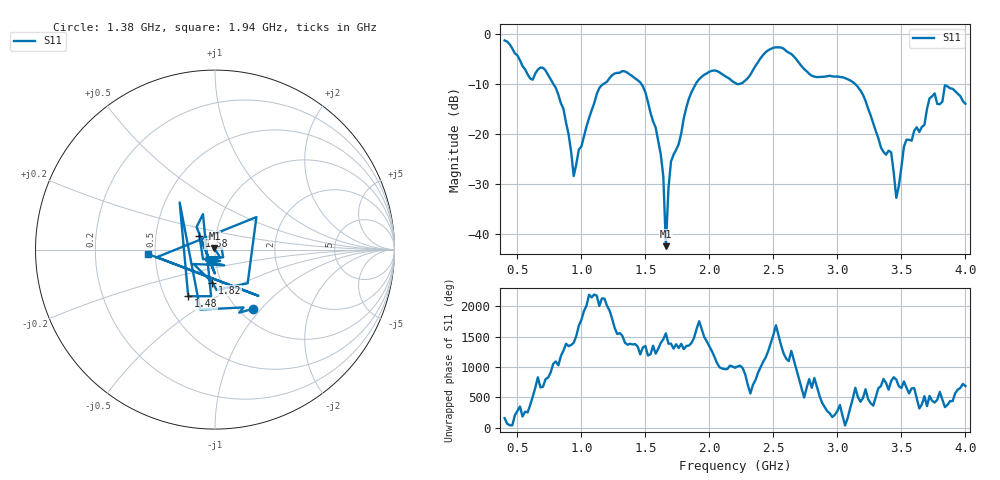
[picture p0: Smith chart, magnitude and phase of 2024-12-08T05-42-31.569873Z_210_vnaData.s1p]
!Created with skrf (http://scikit-rf.org).
# Hz S RI R 50.0
!freq ReS11 ImS11
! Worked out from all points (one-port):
!   181 points, 400 MHz to 4 GHz, reference 50 ohm
!   lowest |S11| = -42.5 dB at 1.66 GHz (marker M1), VSWR 1.02, Z = 49.7 + j0.685 ohm
!   |S11| at or under -10 dB: 780.6 MHz to 1.173 GHz (392.1 MHz wide, 40.1 % of centre); 1.468 GHz to 1.894 GHz (425.8 MHz wide, 25.3 % of centre); 3.138 GHz to end of sweep (the widest 3 of 4)
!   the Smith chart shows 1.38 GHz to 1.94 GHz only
!   S11 on the Smith chart (normalised r, x): 1.38 GHz: 1.15, -0.90; 1.48 GHz: 0.66, -0.37; 1.58 GHz: 0.83, +0.13; 1.82 GHz: 0.91, -0.35; 1.94 GHz: 0.46, -0.03
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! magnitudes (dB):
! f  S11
! 400 MHz  -1.3
! 600 MHz  -8.9
! 720 MHz  -7.3
! 860 MHz  -15.0
! 940 MHz  -28.4
! 1.14 GHz  -10.8
! 1.3 GHz  -7.8
! 1.38 GHz  -8.2
! 1.48 GHz  -10.5
! 1.58 GHz  -18.7
! 1.64 GHz  -28.5
! 1.66 GHz  -42.5
! 1.68 GHz  -30.9
! 1.7 GHz  -25.5
! 1.76 GHz  -22.1
! 1.82 GHz  -14.7
! 1.94 GHz  -8.6
! 2.2 GHz  -9.8
! 2.48 GHz  -3.0
! 2.66 GHz  -4.5
! 3.1 GHz  -9.3
! 3.34 GHz  -22.7
! 3.42 GHz  -23.7
! 3.46 GHz  -32.8
! 3.52 GHz  -22.5
! 3.56 GHz  -21.2
! 3.84 GHz  -10.3
! 4 GHz  -14.0
